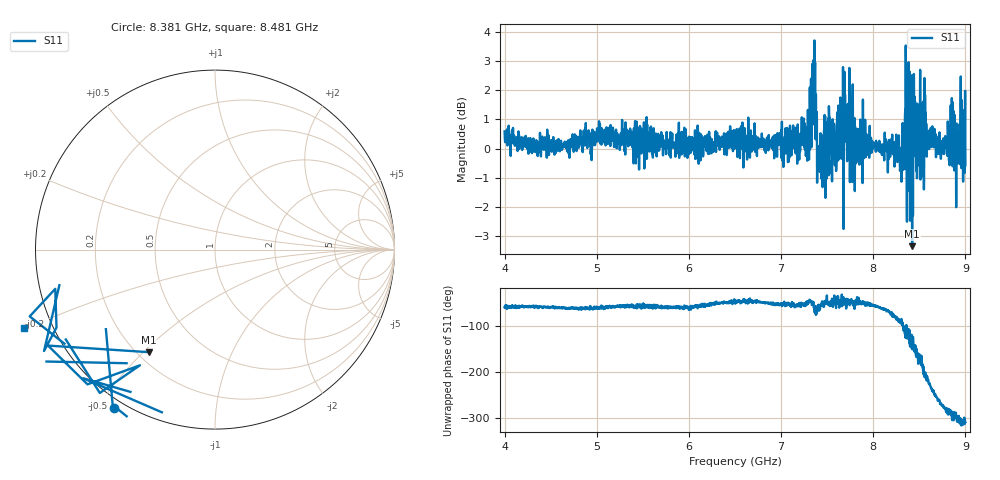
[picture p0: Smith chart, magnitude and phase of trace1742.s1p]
! Created with skrf 1.8.0 (http://scikit-rf.org).
# Hz S RI R 50.0
!freq ReS11 ImS11
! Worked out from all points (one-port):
!   1601 points, 4 GHz to 9 GHz, reference 50 ohm
!   lowest |S11| = -3.3 dB at 8.422 GHz (marker M1), VSWR 5.26, Z = 12.2 - j25.9 ohm
!   |S11| at or under -10 dB: nowhere
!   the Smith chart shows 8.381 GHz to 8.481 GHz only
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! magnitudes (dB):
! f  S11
! 4 GHz  0.6
! 4.625 GHz  0.0
! 5.25 GHz  0.0
! 5.875 GHz  0.1
! 6.5 GHz  0.2
! 7.125 GHz  0.4
! 7.284 GHz  -0.4
! 7.309 GHz  0.0
! 7.347 GHz  2.2
! 7.362 GHz  3.7
! 7.4 GHz  0.1
! 7.428 GHz  0.5
! 7.509 GHz  0.2
! 7.572 GHz  0.8
! 7.669 GHz  0.2
! 7.75 GHz  0.4
! 8.259 GHz  0.2
! 8.312 GHz  0.1
! 8.334 GHz  -0.3
! 8.375 GHz  -1.4
! 8.412 GHz  1.0
! 8.422 GHz  -3.3
! 8.519 GHz  1.5
! 8.722 GHz  -0.2
! 8.859 GHz  1.6
! 8.906 GHz  0.5
! 8.947 GHz  1.2
! 9 GHz  -0.6
